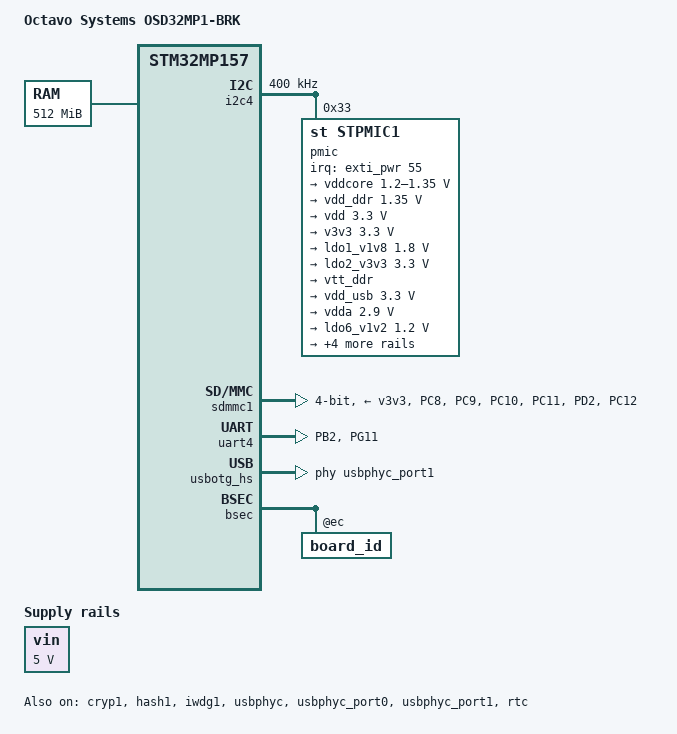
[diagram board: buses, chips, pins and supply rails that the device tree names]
// SPDX-License-Identifier: (GPL-2.0-or-later OR BSD-3-Clause)
/*
 * Copyright (C) 2024, Octavo Systems - All Rights Reserved
 * Author: Neeraj Dantu 
 */

/dts-v1/;

#include <dt-bindings/pinctrl/stm32-pinfunc.h>
#include <dt-bindings/clock/stm32mp1-clksrc.h>
#include "osd32mp1_ddr_1x4Gb.dtsi"

#include "stm32mp157.dtsi"
#include "stm32mp15xf.dtsi"
#include "stm32mp15xxac-pinctrl.dtsi"
#include "stm32mp15-ddr.dtsi"

#include "stm32mp15-pinctrl.dtsi"

/ {
	model = "Octavo Systems OSD32MP1-BRK";
	compatible = "oct,stm32mp157f-osd32mp1-brk", "st,stm32mp157";

	memory@c0000000 {
		device_type = "memory";
		reg = <0xc0000000 0x20000000>;

	};

	aliases {
		serial0 = &uart4;
	};

	chosen {
		stdout-path = "serial0:115200n8";
	};

	vin: vin {
		compatible = "regulator-fixed";
		regulator-name = "vin";
		regulator-min-microvolt = <5000000>;
		regulator-max-microvolt = <5000000>;
		regulator-always-on;
	};

	clocks {
		clk_hsi: clk-hsi {
			clock-frequency = <64000000>;
		};
		clk_lse: clk-lse {
			clock-frequency = <32768>;
			st,drive = < LSEDRV_MEDIUM_HIGH >;
		};
		clk_hse: clk-hse {
			clock-frequency = <24000000>;
			st,digbypass;
		};
	};

}; /*root*/

&ddr {
	vdd-supply = <&vdd_ddr>;
	vtt-supply = <&vtt_ddr>;
	vref-supply = <&vref_ddr>;
};

&pinctrl {
	sdmmc1_pins_mx: sdmmc1_mx-0 {
		pins1 {
			pinmux = <STM32_PINMUX('C', 8, AF12)>, /* SDMMC1_D0 */
					 <STM32_PINMUX('C', 9, AF12)>, /* SDMMC1_D1 */
					 <STM32_PINMUX('C', 10, AF12)>, /* SDMMC1_D2 */
					 <STM32_PINMUX('C', 11, AF12)>, /* SDMMC1_D3 */
					 <STM32_PINMUX('D', 2, AF12)>; /* SDMMC1_CMD */
			bias-disable;
			drive-push-pull;
			slew-rate = <1>;
		};
		pins2 {
			pinmux = <STM32_PINMUX('C', 12, AF12)>; /* SDMMC1_CK */
			bias-disable;
			drive-push-pull;
			slew-rate = <3>;
		};
	};

	uart4_pins_mx: uart4_mx-0 {
		pins1 {
			pinmux = <STM32_PINMUX('B', 2, AF8)>; /* UART4_RX */
			bias-pull-up;
		};
		pins2 {
			pinmux = <STM32_PINMUX('G', 11, AF6)>; /* UART4_TX */
			bias-disable;
			drive-push-pull;
			slew-rate = <0>;
		};
	};
};

&pinctrl_z {
	i2c4_pins_z_mx: i2c4_mx-0 {
		pins {
			pinmux = <STM32_PINMUX('Z', 4, AF6)>, /* I2C4_SCL */
					 <STM32_PINMUX('Z', 5, AF6)>; /* I2C4_SDA */
			bias-pull-up;
			drive-open-drain;
			slew-rate = <0>;
		};
	};
};

&cryp1{
	status = "okay";
};

&hash1{
	status = "okay";
};

&i2c4{
	pinctrl-names = "default";
	pinctrl-0 = <&i2c4_pins_z_mx>;
	status = "okay";
	i2c-scl-rising-time-ns = <185>;
	i2c-scl-falling-time-ns = <20>;
	clock-frequency = <400000>;

	pmic: stpmic@33 {
		compatible = "st,stpmic1";
		reg = <0x33>;
		interrupts-extended = <&exti_pwr 55 IRQ_TYPE_EDGE_FALLING>;
		interrupt-controller;
		#interrupt-cells = <2>;
		status = "okay";

		regulators {
			compatible = "st,stpmic1-regulators";
			buck1-supply = <&vin>;
			buck2-supply = <&vin>;
			buck3-supply = <&vin>;
			buck4-supply = <&vin>;
			ldo1-supply = <&v3v3>;
			ldo2-supply = <&vin>;
			ldo3-supply = <&vdd_ddr>;
			ldo4-supply = <&vin>;
			ldo5-supply = <&vin>;
			ldo6-supply = <&v3v3>;
			vref_ddr-supply = <&vin>;
			boost-supply = <&vin>;
			pwr_sw1-supply = <&bst_out>;
			pwr_sw2-supply = <&bst_out>;

			vddcore: buck1 {
				regulator-name = "vddcore";
				regulator-min-microvolt = <1200000>;
				regulator-max-microvolt = <1350000>;
				regulator-always-on;
				regulator-initial-mode = <0>;
				regulator-over-current-protection;
			};

			vdd_ddr: buck2 {
				regulator-name = "vdd_ddr";
				regulator-min-microvolt = <1350000>;
				regulator-max-microvolt = <1350000>;
				regulator-always-on;
				regulator-initial-mode = <0>;
				regulator-over-current-protection;
			};

			vdd: buck3 {
				regulator-name = "vdd";
				regulator-min-microvolt = <3300000>;
				regulator-max-microvolt = <3300000>;
				regulator-always-on;
				st,mask-reset;
				regulator-initial-mode = <0>;
				regulator-over-current-protection;
			};

			v3v3: buck4 {
				regulator-name = "v3v3";
				regulator-min-microvolt = <3300000>;
				regulator-max-microvolt = <3300000>;
				regulator-always-on;
				regulator-over-current-protection;
				regulator-initial-mode = <0>;
			};

			ldo1_v1v8: ldo1 {
				regulator-name = "ldo1_v1v8";
				regulator-min-microvolt = <1800000>;
				regulator-max-microvolt = <1800000>;
				regulator-always-on;
			};

			ldo2_v3v3: ldo2 {
				regulator-name = "ldo2_v3v3";
				regulator-min-microvolt = <3300000>;
				regulator-max-microvolt = <3300000>;
				regulator-always-on;
			};

			vtt_ddr: ldo3 {
				regulator-name = "vtt_ddr";
				regulator-always-on;
				regulator-over-current-protection;
				st,regulator-sink-source;
			};

			vdd_usb: ldo4 {
				regulator-name = "vdd_usb";
				regulator-min-microvolt = <3300000>;
				regulator-max-microvolt = <3300000>;
				regulator-always-on;
			};

			vdda: ldo5 {
				regulator-name = "vdda";
				regulator-min-microvolt = <2900000>;
				regulator-max-microvolt = <2900000>;
				regulator-boot-on;
			};

			ldo6_v1v2: ldo6 {
				regulator-name = "ldo6_v1v2";
				regulator-min-microvolt = <1200000>;
				regulator-max-microvolt = <1200000>;
				regulator-always-on;
			};

			vref_ddr: vref_ddr {
				regulator-name = "vref_ddr";
				regulator-always-on;
			};

			bst_out: boost {
				regulator-name = "bst_out";
			};

			vbus_otg: pwr_sw1 {
				regulator-name = "vbus_otg";
			};

			vbus_sw: pwr_sw2 {
				regulator-name = "vbus_sw";
				regulator-active-discharge = <1>;
			};
		};
	};
};

&iwdg1{
	status = "okay";
	timeout-sec = <32>;
};

&rcc{
	status = "okay";

	st,clksrc = <
		CLK_CKPER_DISABLED
		CLK_SDMMC12_PLL4P
		CLK_STGEN_HSI
		CLK_I2C46_HSI
		CLK_USBO_USBPHY
		CLK_UART24_HSI
		CLK_MPU_PLL1P
		CLK_AXI_PLL2P
		CLK_MCU_PLL3P
	>;
	st,clkdiv = <
		DIV(DIV_MPU, 1)
		DIV(DIV_AXI, 0)
		DIV(DIV_MCU, 0)
		DIV(DIV_APB1, 1)
		DIV(DIV_APB2, 1)
		DIV(DIV_APB3, 1)
		DIV(DIV_APB4, 1)
		DIV(DIV_APB5, 2)
		DIV(DIV_RTC, 0)
		DIV(DIV_MCO1, 0)
		DIV(DIV_MCO2, 0)
	>;
	st,pll_vco {
		pll1_vco_1600Mhz: pll1-vco-1600Mhz {
			src = < CLK_PLL12_HSE >;
			divmn = < 2 99 >;
		};
		pll2_vco_800Mhz: pll2-vco-800Mhz {
			src = < CLK_PLL12_HSE >;
			divmn = < 1 32 >;
			frac = < 0xaab >;
		};
		pll3_vco_417Mhz: pll3-vco-417Mhz {
			src = < CLK_PLL3_HSE >;
			divmn = < 1 33 >;
			frac = < 0x1a04 >;
		};
		pll4_vco_594Mhz: pll4-vco-594Mhz {
			src = < CLK_PLL4_HSE >;
			divmn = < 3 98 >;
		};
	};

	pll1:st,pll@0 {
		compatible = "st,stm32mp1-pll";
		reg = <0>;

		st,pll = < &pll1_cfg1 >;

		pll1_cfg1: pll1_cfg1 {
			st,pll_vco = < &pll1_vco_1600Mhz >;
			st,pll_div_pqr = < 0 1 1 >;
		};
	};

	pll2:st,pll@1 {
		compatible = "st,stm32mp1-pll";
		reg = <1>;

		st,pll = < &pll2_cfg1 >;

		pll2_cfg1: pll2_cfg1 {
			st,pll_vco = < &pll2_vco_800Mhz >;
			st,pll_div_pqr = < 1 0 0 >;
		};
	};

	pll3:st,pll@2 {
		compatible = "st,stm32mp1-pll";
		reg = <2>;

		st,pll = < &pll3_cfg1 >;

		pll3_cfg1: pll3_cfg1 {
			st,pll_vco = < &pll3_vco_417Mhz >;
			st,pll_div_pqr = < 1 16 36 >;
		};
	};

	pll4:st,pll@3 {
		compatible = "st,stm32mp1-pll";
		reg = <3>;

		st,pll = < &pll4_cfg1 >;

		pll4_cfg1: pll4_cfg1 {
			st,pll_vco = < &pll4_vco_594Mhz >;
			st,pll_div_pqr = < 5 7 7 >;
		};
	};

};

&sdmmc1{
	pinctrl-names = "default";
	pinctrl-0 = <&sdmmc1_pins_mx>;
	status = "okay";
	disable-wp;
	st,neg-edge;
	bus-width = <4>;
	vmmc-supply = <&v3v3>;
};

&uart4{
	pinctrl-names = "default";
	pinctrl-0 = <&uart4_pins_mx>;
	status = "okay";
};

&usbotg_hs{
	status = "okay";
};

&usbphyc{
	status = "okay";
};

&usbphyc_port0{
	status = "okay";
};

&usbphyc_port1{
	status = "okay";
};

&pwr_regulators {
	vdd-supply = <&vdd>;
	vdd_3v3_usbfs-supply = <&vdd_usb>;
};

&rtc {
	status = "okay";
};

&cpu0{
  cpu-supply = <&vddcore>;
};

&cpu1{
  cpu-supply = <&vddcore>;
};

&bsec {
	board_id: board_id@ec {
		reg = <0xec 0x4>;
		st,non-secure-otp;
	};
};

&usbotg_hs {
	phys = <&usbphyc_port1 0>;
	phy-names = "usb2-phy";
	usb-role-switch;
};

&usbphyc_port0 {
	phy-supply = <&vdd_usb>;
};

&usbphyc_port1 {
	phy-supply = <&vdd_usb>;
};
